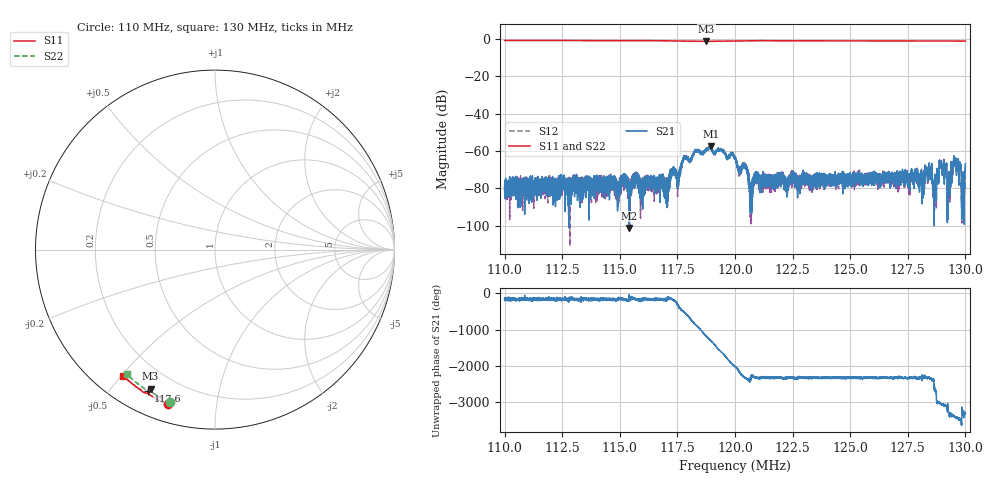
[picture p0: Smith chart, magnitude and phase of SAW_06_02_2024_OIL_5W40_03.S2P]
!Agilent Technologies,E5071C,MY46520923,B.12.03
!Date: Wed Feb 07 10:48:15 2024
!Data & Calibration Information:
!Freq	S11:SOLT2(ON)	S21:SOLT2(ON)	S12:SOLT2(ON)	S22:SOLT2(ON)
!PortZ  Port1:50+j0  Port2:50+j0
!Above PortZ is port z conversion or system Z0 setting when saving the data.
!When reading, reference impedance value at option line is always used.
# Hz S dB R 50
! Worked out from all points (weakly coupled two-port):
!   10000 points, 110 MHz to 130 MHz, reference 50 ohm
!   highest |S21| = -57.35 dB at 118.9 MHz (marker M1); lowest = -101.2 dB at 115.4 MHz (marker M2)
!   lowest |S11| = -1.4 dB at 118.8 MHz (marker M3), VSWR 12.77, Z = 5.5 - j31.7 ohm
!   |S11| at or under -10 dB: nowhere
!   |S22| runs from -1.5 to -1.0 dB; largest |S21 - S12| = 0.00023
!   S11 on the Smith chart (normalised r, x): 110 MHz: 0.08, -0.74; 117.6 MHz: 0.10, -0.63; 130 MHz: 0.09, -0.51
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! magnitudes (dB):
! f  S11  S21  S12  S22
! 110 MHz  -0.9  -80.1  -81.3  -1.0
! 113.3 MHz  -1.0  -78.0  -77.2  -1.1
! 115.4 MHz  -1.0  -101.2  -83.7  -1.2
! 116.7 MHz  -1.0  -79.9  -74.8  -1.2
! 117.6 MHz  -1.2  -71.2  -71.0  -1.4
! 117.8 MHz  -1.2  -63.9  -63.7  -1.4
! 118.8 MHz  -1.4  -59.7  -59.3  -1.5
! 118.9 MHz  -1.4  -57.3  -58.8  -1.5
! 120 MHz  -1.1  -63.3  -63.4  -1.3
! 120.5 MHz  -1.0  -68.6  -69.1  -1.2
! 120.7 MHz  -1.0  -86.5  -81.4  -1.2
! 120.9 MHz  -1.0  -71.2  -75.8  -1.2
! 123.3 MHz  -1.1  -78.0  -77.5  -1.3
! 126.7 MHz  -1.1  -71.9  -73.9  -1.3
! 128.1 MHz  -1.2  -78.4  -76.4  -1.4
! 128.5 MHz  -1.2  -71.9  -71.4  -1.4
! 128.7 MHz  -1.2  -78.3  -79.2  -1.4
! 129 MHz  -1.2  -67.3  -68.4  -1.4
! 129.3 MHz  -1.2  -75.8  -78.3  -1.4
! 129.6 MHz  -1.2  -65.4  -65.6  -1.4
! 129.9 MHz  -1.2  -74.8  -73.9  -1.4
! 130 MHz  -1.2  -66.9  -67.9  -1.4
